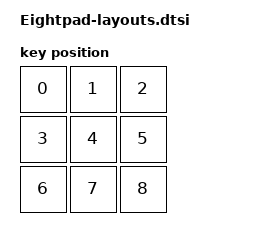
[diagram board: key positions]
#include <physical_layouts.dtsi>

/ {
    physical_layout0: physical_layout_0 {
        compatible = "zmk,physical-layout";
        display-name = "Eightpad";
        kscan = <&kscan0>;
        transform = <&matrix_transform0>;
        keys  //                     w   h    x    y     rot    rx    ry
            = <&key_physical_attrs 100 100    0    0       0     0     0>
            , <&key_physical_attrs 100 100  100    0       0     0     0>
            , <&key_physical_attrs 100 100  200    0       0     0     0>
            , <&key_physical_attrs 100 100    0  100       0     0     0>
            , <&key_physical_attrs 100 100  100  100       0     0     0>
            , <&key_physical_attrs 100 100  200  100       0     0     0>
            , <&key_physical_attrs 100 100    0  200       0     0     0>
            , <&key_physical_attrs 100 100  100  200       0     0     0>
            , <&key_physical_attrs 100 100  200  200       0     0     0>;
    };
};

/ {
    Eightpad_position_map {
        compatible = "zmk,physical-layout-position-map";
        complete;

        Eightpad_map: Eightpad {
            physical-layout = <&physical_layout0>;
            positions
                = < 10  1  0>
                , < 9  6  2>
                , < 8  7  4>;
        };
    };
};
